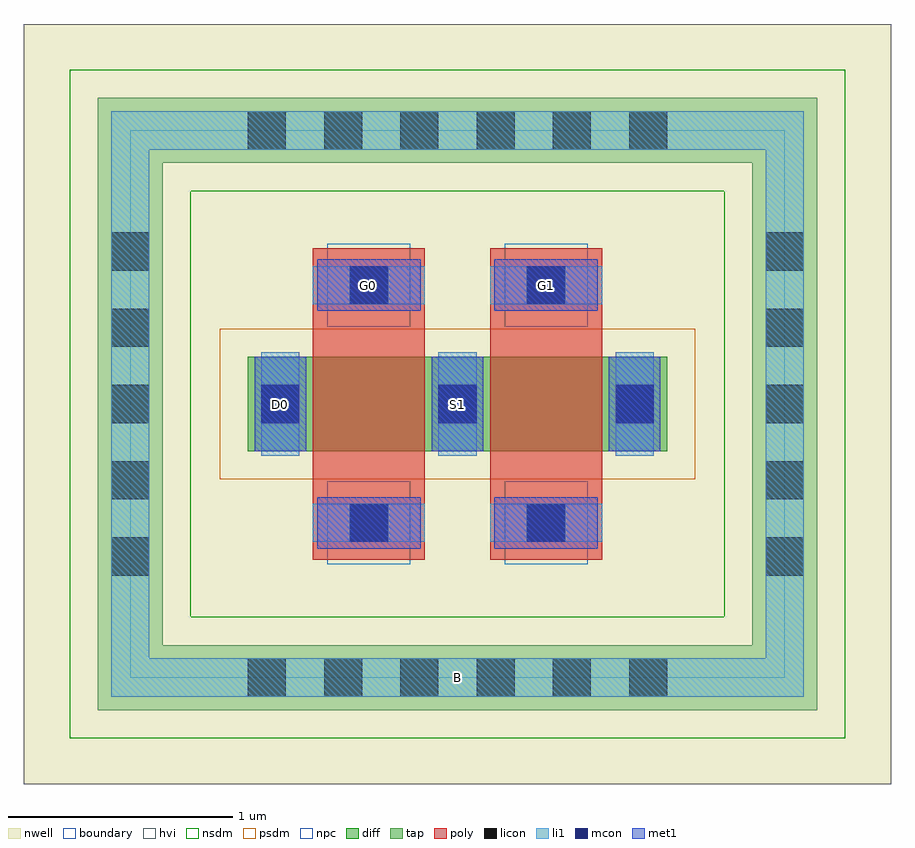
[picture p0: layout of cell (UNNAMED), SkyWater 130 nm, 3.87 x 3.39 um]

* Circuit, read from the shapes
.subckt (UNNAMED) B D0 G0 G1 S1
XM1 S1 G0 D0 B sky130_fd_pr__pfet_g5v0d10v5 w=0.42 l=0.5
XM2 n1 G1 S1 B sky130_fd_pr__pfet_g5v0d10v5 w=0.42 l=0.5
.ends

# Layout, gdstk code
import gdstk
lib = gdstk.Library(unit=1e-6, precision=1e-09)
def R(c, l, rs):  # rectangles x0, y0, x1, y1
    for r in rs: c.add(gdstk.rectangle(r[:2], r[2:], *l))
def A(c, l, x, y, w, h, nx, ny, dx, dy):  # array of equal rectangles
    R(c, l, [(x+i*dx, y+j*dy, x+i*dx+w, y+j*dy+h) for i in range(nx) for j in range(ny)])
nwell = (64, 20)
diff = (65, 20)
tap = (65, 44)
poly = (66, 20)
licon = (66, 44)
li1 = (67, 20)
mcon = (67, 44)
met1 = (68, 20)
hvi = (75, 20)
nsdm = (93, 44)
psdm = (94, 20)
npc = (95, 20)
boundary = (235, 4)

c__unnamed_ = lib.new_cell('(UNNAMED)')
R(c__unnamed_, nwell, [(-1.935,-1.695,1.935,1.695)])
R(c__unnamed_, diff, [(-0.935,-0.21,0.935,0.21)])
R(c__unnamed_, tap, [(-1.605,-1.365,1.605,-1.075), (-1.605,-1.075,-1.315,1.075), (1.315,-1.075,1.605,1.075), (-1.605,1.075,1.605,1.365)])
R(c__unnamed_, poly, [(-0.645,-0.695,-0.145,0.695), (0.145,-0.695,0.645,0.695)])
A(c__unnamed_, licon, -0.935, -1.305, 0.17, 0.17, 6, 2, 0.34, 2.44)
A(c__unnamed_, licon, -1.545, -0.765, 0.17, 0.17, 1, 5, 0, 0.34)
A(c__unnamed_, licon, 1.375, -0.765, 0.17, 0.17, 1, 5, 0, 0.34)
A(c__unnamed_, licon, -0.875, -0.085, 0.17, 0.17, 3, 1, 0.79, 0)
R(c__unnamed_, licon, [(-0.48,-0.615,-0.31,-0.445), (0.31,-0.615,0.48,-0.445), (-0.48,0.445,-0.31,0.615), (0.31,0.445,0.48,0.615)])
A(c__unnamed_, li1, -0.875, -0.23, 0.17, 0.46, 3, 1, 0.79, 0)
R(c__unnamed_, li1, [(-1.545,-1.305,1.545,-1.135), (-1.545,-1.135,-1.375,1.135), (1.375,-1.135,1.545,1.135), (-0.645,-0.615,-0.145,-0.445), (0.145,-0.615,0.645,-0.445), (-0.645,0.445,-0.145,0.615), (0.145,0.445,0.645,0.615), (-1.545,1.135,1.545,1.305)])
A(c__unnamed_, mcon, -0.875, -0.085, 0.17, 0.17, 3, 1, 0.79, 0)
R(c__unnamed_, mcon, [(-0.48,-0.615,-0.31,-0.445), (0.31,-0.615,0.48,-0.445), (-0.48,0.445,-0.31,0.615), (0.31,0.445,0.48,0.615)])
A(c__unnamed_, met1, -0.905, -0.21, 0.23, 0.42, 3, 1, 0.79, 0)
R(c__unnamed_, met1, [(-0.625,-0.645,-0.165,-0.415), (0.165,-0.645,0.625,-0.415), (-0.625,0.415,-0.165,0.645), (0.165,0.415,0.625,0.645)])
R(c__unnamed_, hvi, [(-1.935,-1.695,1.935,1.695)])
R(c__unnamed_, nsdm, [(-1.73,-1.49,1.73,-0.95), (-1.73,-0.95,-1.19,0.95), (1.19,-0.95,1.73,0.95), (-1.73,0.95,1.73,1.49)])
R(c__unnamed_, psdm, [(-1.06,-0.335,1.06,0.335)])
R(c__unnamed_, npc, [(-0.58,-0.715,-0.21,-0.345), (0.21,-0.715,0.58,-0.345), (-0.58,0.345,-0.21,0.715), (0.21,0.345,0.58,0.715)])
R(c__unnamed_, boundary, [(-1.46,-1.22,1.46,1.22)])
c__unnamed_.add(gdstk.Label('B', (0,-1.22), layer=67, texttype=5))
c__unnamed_.add(gdstk.Label('D0', (-0.79,0), layer=67, texttype=5))
c__unnamed_.add(gdstk.Label('G0', (-0.395,0.53), layer=67, texttype=5))
c__unnamed_.add(gdstk.Label('S1', (0,0), layer=67, texttype=5))
c__unnamed_.add(gdstk.Label('G1', (0.395,0.53), layer=67, texttype=5))

lib.write_gds('_UNNAMED_.gds')
